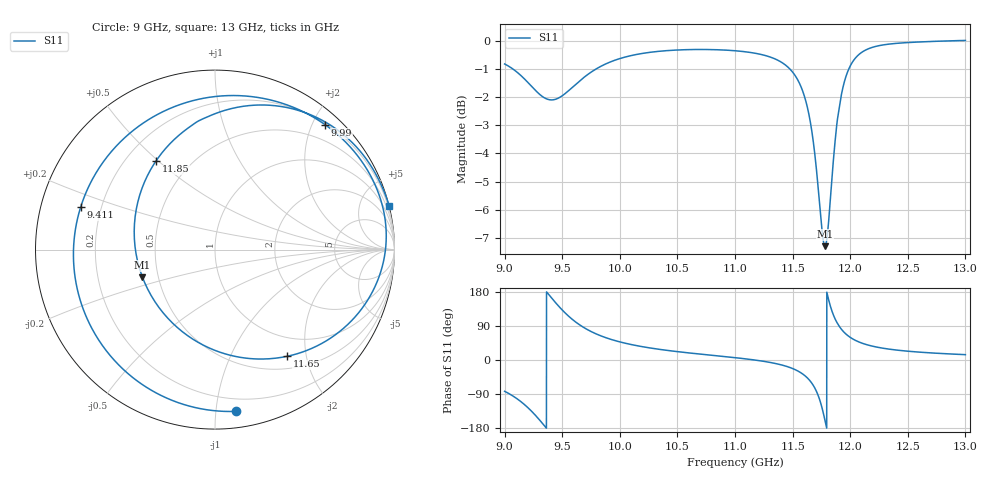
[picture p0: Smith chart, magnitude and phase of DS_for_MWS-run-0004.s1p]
! TOUCHSTONE file generated by CST DESIGN STUDIO
! Date and time: Tue Feb  4 18:02:58 2025
! Project name: C:\Work\MatlabApps\UnitCellOptimizationMatlab\CST\unitcell.cst
! Tree item: Tasks\Sweep1\SPara1\S-Parameters
! Header version: 2024
! Port assignment regex: !\s*Touchstone port\s*([0-9]+)\s*=\s*(CST MWS port|CST DES external port|CST DES block port)\s*(.+)\s* \(\"(.*)\"\)(\s*mode\s*([0-9]+))?.*
! Touchstone port assignment:
! Touchstone port 1 = CST DES external port 1 ("")
# GHz S MA R 50
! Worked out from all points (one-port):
!   4001 points, 9 GHz to 13 GHz, reference 50 ohm
!   lowest |S11| = -7.3 dB at 11.78 GHz (marker M1), VSWR 2.52, Z = 20.4 - j7.69 ohm
!   |S11| at or under -10 dB: nowhere
!   S11 on the Smith chart (normalised r, x): 9 GHz: 0.11, -1.13; 9.411 GHz: 0.12, +0.15; 9.99 GHz: 0.22, +2.20; 11.65 GHz: 0.68, -1.67; 11.85 GHz: 0.32, +0.49; 13 GHz: -0.01, +8.08
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9  0.9089 -82.6
9.11  0.8782 -102.7
9.201  0.8434 -125.4
9.315  0.7996 -162.4
9.411  0.785 162.5
9.5  0.7983 132.0
9.583  0.8245 108.4
9.677  0.8567 87.7
9.823  0.8974 65.2
9.99  0.9277 48.6
10  0.929 47.8
10.216  0.9502 34.1
10.5  0.9621 22.1
11  0.9592 6.2
11.32  0.9326 -7.3
11.5  0.8792 -22.5
11.586  0.8154 -36.6
11.654  0.7173 -56.0
11.723  0.5454 -94.4
11.781  0.4324 -159.2
11.813  0.4788 158.7
11.848  0.5929 123.7
11.909  0.7715 87.2
12  0.9012 59.8
12.077  0.9451 47.4
12.176  0.9701 37.8
12.5  0.9917 23.2
13  1 14.1
